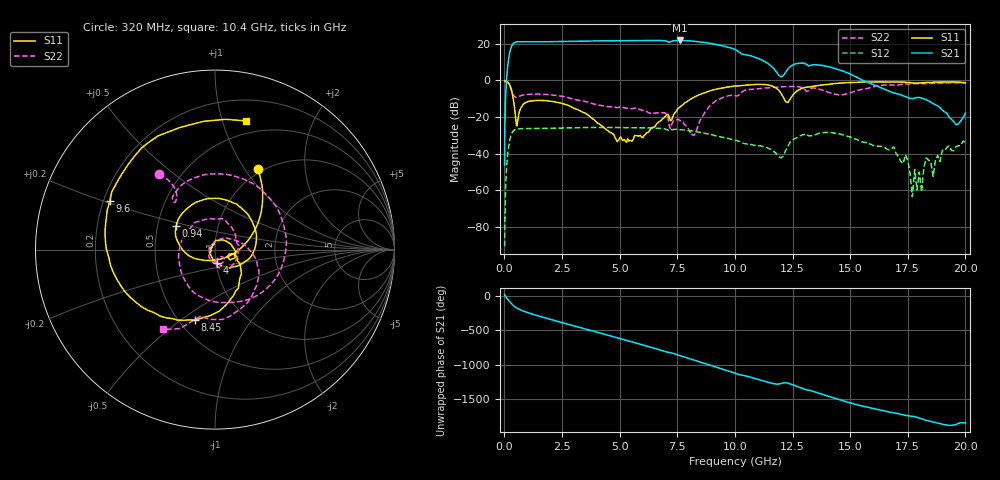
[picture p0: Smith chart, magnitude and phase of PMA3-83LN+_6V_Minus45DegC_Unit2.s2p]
!Mini-Circuits Laboratory
!Date: 9/18/2015 at 7:48:07 AM
!S2P DATA File Format
!Type: MMIC Amplifier
!Model: PMA3-83LN+
!S/N: Unit 2
!Fixture: Unit soldered on TB-830A+ RUN  MN61900 D/C 1537, no port extension
!PIN OUT: PORT 1 - PIN 2, PORT 2 - PIN 8, GROUND - PADDLE, DC POWER SUPPLY - PIN 8, NOT CONNECTED - PINS 1,3 to 7, 9 to 12
!TEST CONDITIONS: Temp= -45 (Deg C) RF Power= -25.00 (dBm) V limit=6(V) I limit=150(mA) Z=50 OHM
!WAFER/LOT#: CP483P004-02, CP483P004-03,CP483P004-04,
!Network Analyzer: PNA-X N5242A S/N 71404 CAL DUE: 09/10/2016
!P.Supply/Multimeter: HP E3632A S/N 63249 CAL DUE: 12/11/2015
!Power Meter: Agilent U2000A S/N 74434 CAL DUE: 10/17/2015
# Hz  S  dB  R  50
!Frequency  S11 dB  S11 Deg  S21 dB  S21 Deg  S12 dB  S12 Deg  S22 dB  S22 Deg
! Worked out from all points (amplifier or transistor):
!   380 points, 10 MHz to 20 GHz, reference 50 ohm
!   highest |S21| = 21.8 dB at 7.6 GHz (marker M1)
!   |S21| within 3 dB of that: 319.2 MHz to 9.498 GHz (9.178 GHz wide, 187 % of centre)
!   unconditionally stable (mu >= 1): 10.24 MHz to end of sweep
!   at 640 MHz: K = 1.09, MAG = 21.9 dB, |S12| = -26.3 dB
!   at 5.55 GHz: K = 1.09, MAG = 21.8 dB, |S12| = -25.8 dB
!   at 20 GHz: K = 12.21, MAG = -5.9 dB, |S12| = -33.7 dB
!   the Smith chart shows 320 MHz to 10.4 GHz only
!   S11 on the Smith chart (normalised r, x): 320 MHz: 0.95, +1.15; 940 MHz: 0.63, +0.17; 4 GHz: 1.01, -0.15; 8.45 GHz: 0.60, -0.56; 9.6 GHz: 0.23, +0.21; 10.4 GHz: 0.38, +1.20
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1e7  -0.11 173.8  -46.14 18.5  -90.38 -139.9  0.00 -35.4
1.9e8  -1.44 114.3  12.18 -68.8  -35.86 126.9  -2.12 157.5
3.2e8  -5.89 62.0  18.84 -119.1  -28.88 74.8  -5.63 126.6
5.4e8  -24.79 -85.3  21.04 -178.5  -26.45 16.1  -9.19 130.8
9.4e8  -11.97 148.9  21.10 123.8  -26.23 -37.5  -7.66 108.2
1.45e9  -10.84 98.1  21.08 69.7  -26.17 -84.8  -7.46 63.6
2.15e9  -11.61 41.0  21.17 2.9  -26.02 -141.4  -8.03 2.3
3.35e9  -16.94 -42.6  21.45 -107.7  -25.69 125.6  -11.09 -101.8
4e9  -22.73 -82.7  21.57 -168.1  -25.59 74.8  -13.24 -152.8
5.2e9  -32.15 155.8  21.60 80.8  -25.69 -18.6  -14.88 117.2
6e9  -31.24 103.5  21.73 6.3  -25.84 -82.0  -16.30 51.0
6.7e9  -22.67 42.8  21.82 -61.7  -26.09 -138.4  -17.61 -16.6
7.6e9  -14.69 -38.1  21.82 -148.9  -26.77 151.0  -21.86 -82.6
8.45e9  -7.81 -105.9  21.13 120.9  -28.24 80.4  -23.01 59.8
8.9e9  -5.71 -142.2  20.32 72.8  -29.32 45.3  -14.12 -2.2
9.6e9  -3.81 155.3  18.51 -1.6  -31.30 -5.2  -8.82 -68.2
1.01e10  -3.00 106.0  16.27 -57.5  -32.86 -39.4  -8.44 -101.8
1.04e10  -2.64 76.3  14.15 -80.1  -34.40 -58.7  -5.52 -122.9
1.12e10  -2.13 -4.3  10.94 -156.0  -35.87 -103.1  -4.23 165.2
1.34e10  -3.16 -113.1  8.55 49.4  -29.85 142.5  -4.09 0.8
1.67e10  -0.80 -9.5  -5.86 108.5  -37.84 -164.5  -2.41 30.3
2e10  -1.29 146.2  -17.85 -50.7  -33.74 133.5  -1.19 163.3
